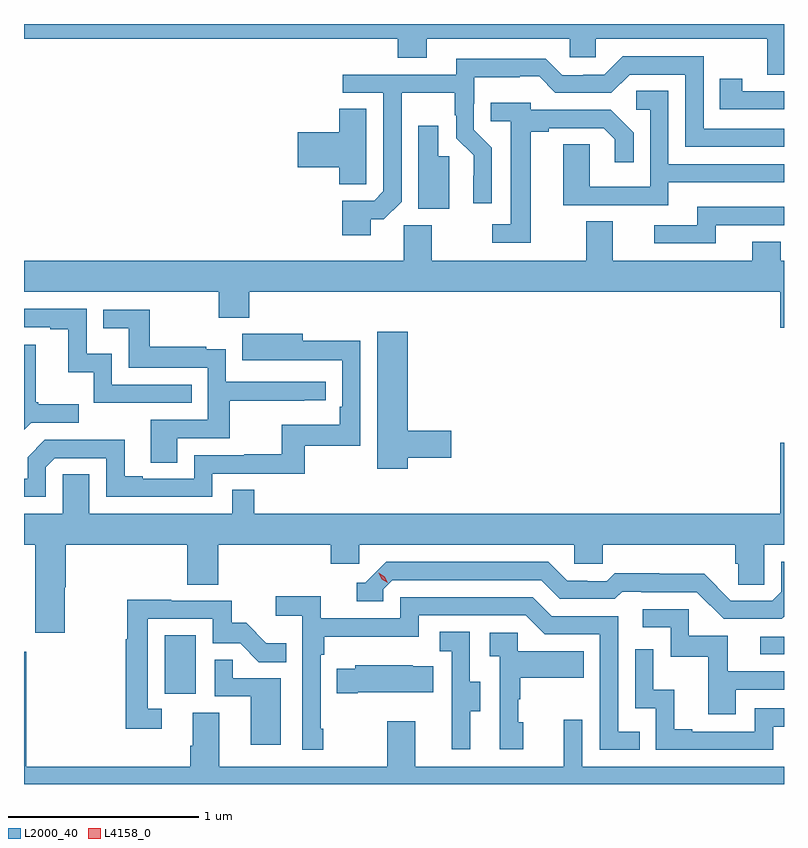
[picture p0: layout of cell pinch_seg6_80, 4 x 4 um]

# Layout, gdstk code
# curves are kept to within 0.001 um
import gdstk
lib = gdstk.Library(unit=1e-6, precision=1e-09)
def R(c, l, rs):  # rectangles x0, y0, x1, y1
    for r in rs: c.add(gdstk.rectangle(r[:2], r[2:], *l))
def P(c, l, *ps):  # polygons
    for p in ps: c.add(gdstk.Polygon(p, *l))
L2000_40 = (2000, 40)
L4158_0 = (4158, 0)

pinch_seg6_80 = lib.new_cell('pinch_seg6_80')
R(pinch_seg6_80, L2000_40, [(905.024,931.902,905.188,932.209), (908.157,932.109,908.283,932.202)])
P(pinch_seg6_80, L2000_40, [(908.283,935.426),(904.283,935.426),(904.283,935.348),(906.251,935.348),(906.251,935.249),(906.403,935.249),(906.403,935.348),(907.155,935.348),(907.155,935.25),(907.293,935.25),(907.293,935.348),(908.194,935.348),(908.194,935.158),(908.283,935.158)],
  [(906.109,934.399),(906.177,934.399),(906.27,934.491),(906.27,935.063),(906.551,935.063),(906.551,934.947),(906.558,934.947),(906.558,934.826),(906.65,934.734),(906.65,934.628),(906.648,934.628),(906.648,934.482),(906.744,934.482),(906.744,934.776),(906.651,934.869),(906.651,935.007),(906.654,935.007),(906.654,935.147),(906.893,935.147),(906.893,935.15),(906.995,935.15),(907.08,935.064),(907.374,935.064),(907.47,935.16),(907.764,935.16),(907.764,934.779),(908.283,934.779),(908.283,934.875),(907.86,934.875),(907.86,935.256),(907.434,935.256),(907.338,935.16),(907.226,935.16),(907.226,935.157),(907.116,935.157),(907.029,935.244),(906.557,935.244),(906.557,935.16),(905.961,935.16),(905.961,935.064),(906.174,935.064),(906.174,934.545),(906.126,934.497),(905.957,934.497),(905.957,934.314),(906.109,934.314)],
  [(908.283,935.073),(908.064,935.073),(908.064,935.137),(907.945,935.137),(907.945,934.977),(908.283,934.977)],
  [(907.675,934.593),(908.283,934.593),(908.283,934.689),(907.674,934.689),(907.674,935.075),(907.506,935.075),(907.506,934.974),(907.578,934.974),(907.578,934.569),(907.26,934.569),(907.26,934.793),(907.121,934.793),(907.121,934.473),(907.675,934.473)],
  [(906.949,934.858),(907.045,934.858),(907.045,934.878),(907.334,934.878),(907.392,934.82),(907.392,934.698),(907.493,934.698),(907.493,934.853),(907.372,934.974),(906.949,934.974),(906.949,935.011),(906.739,935.011),(906.739,934.914),(906.845,934.914),(906.845,934.371),(906.747,934.371),(906.747,934.275),(906.949,934.275)],
  [(906.084,934.69),(906.085,934.69),(906.085,934.979),(905.942,934.979),(905.942,934.856),(905.724,934.856),(905.724,934.673),(905.942,934.673),(905.942,934.582),(906.084,934.582)],
  [(906.52,934.731),(906.463,934.731),(906.463,934.891),(906.359,934.891),(906.359,934.453),(906.52,934.453)],
  [(907.925,934.368),(908.283,934.368),(908.283,934.464),(907.826,934.464),(907.826,934.368),(907.599,934.368),(907.599,934.272),(907.925,934.272)],
  [(908.283,934.18),(908.265,934.18),(908.265,934.279),(908.117,934.279),(908.117,934.18),(907.381,934.18),(907.381,934.388),(907.241,934.388),(907.241,934.18),(906.429,934.18),(906.429,934.368),(906.282,934.368),(906.282,934.18),(904.283,934.18),(904.283,934.016),(905.308,934.016),(905.308,933.881),(905.468,933.881),(905.468,934.016),(908.264,934.016),(908.264,933.828),(908.283,933.828)],
  [(905.165,933.528),(904.746,933.528),(904.746,933.691),(904.614,933.691),(904.614,933.927),(904.283,933.927),(904.283,933.831),(904.421,933.831),(904.421,933.819),(904.517,933.819),(904.517,933.593),(904.65,933.593),(904.65,933.432),(905.165,933.432)],
  [(905.089,933.246),(905.366,933.246),(905.366,933.442),(905.759,933.442),(905.759,933.447),(905.872,933.447),(905.872,933.543),(905.346,933.543),(905.346,933.715),(905.243,933.715),(905.243,933.727),(904.945,933.727),(904.945,933.921),(904.699,933.921),(904.699,933.824),(904.834,933.824),(904.834,933.618),(905.25,933.618),(905.25,933.342),(904.949,933.342),(904.949,933.118),(905.089,933.118)],
  [(906.304,933.142),(906.532,933.142),(906.532,933.284),(906.304,933.284),(906.304,933.805),(906.143,933.805),(906.143,933.084),(906.304,933.084)],
  [(904.398,933.093),(904.446,933.141),(904.716,933.141),(904.716,932.937),(905.274,932.937),(905.274,933.06),(905.761,933.06),(905.761,933.207),(906.054,933.207),(906.054,933.758),(905.749,933.758),(905.749,933.796),(905.431,933.796),(905.431,933.656),(905.958,933.657),(905.958,933.412),(905.945,933.412),(905.945,933.316),(905.64,933.316),(905.64,933.161),(905.443,933.161),(905.443,933.156),(905.178,933.156),(905.178,933.033),(904.909,933.033),(904.909,933.046),(904.813,933.046),(904.813,933.239),(904.608,933.239),(904.608,933.237),(904.392,933.237),(904.302,933.147),(904.302,933.033),(904.283,933.033),(904.283,932.937),(904.398,932.937)],
  [(904.32,933.327),(904.57,933.327),(904.57,933.424),(904.357,933.424),(904.357,933.436),(904.345,933.436),(904.345,933.739),(904.283,933.739),(904.283,933.29)],
  [(904.283,932.684),(904.342,932.684),(904.342,932.223),(904.497,932.223),(904.497,932.462),(904.502,932.462),(904.502,932.684),(905.141,932.684),(905.141,932.476),(905.306,932.476),(905.306,932.684),(905.897,932.684),(905.897,932.586),(906.048,932.586),(906.048,932.684),(907.179,932.684),(907.179,932.586),(907.329,932.586),(907.329,932.684),(908.027,932.684),(908.027,932.586),(908.041,932.586),(908.041,932.476),(908.178,932.476),(908.178,932.684),(908.283,932.684),(908.283,933.223),(908.264,933.223),(908.264,932.848),(905.495,932.848),(905.495,932.975),(905.379,932.975),(905.379,932.848),(904.627,932.848),(904.627,933.056),(904.488,933.056),(904.488,932.848),(904.283,932.848)],
  [(908.283,932.307),(908.283,932.595),(908.268,932.595),(908.268,932.439),(908.22,932.391),(908.004,932.391),(907.862,932.533),(907.626,932.533),(907.626,932.536),(907.393,932.536),(907.351,932.493),(907.248,932.493),(907.248,932.496),(907.141,932.496),(907.042,932.595),(906.189,932.595),(906.078,932.484),(906.035,932.484),(906.035,932.388),(906.174,932.388),(906.174,932.451),(906.222,932.499),(907.005,932.499),(907.104,932.4),(907.393,932.4),(907.432,932.439),(907.531,932.439),(907.531,932.436),(907.824,932.436),(907.965,932.295),(908.271,932.295)],
  [(905.857,931.717),(905.844,931.717),(905.844,932.105),(905.864,932.105),(905.864,932.201),(906.36,932.201),(906.36,932.313),(906.924,932.313),(907.023,932.214),(907.314,932.214),(907.314,931.605),(907.523,931.605),(907.523,931.701),(907.41,931.701),(907.41,932.31),(907.06,932.31),(906.961,932.409),(906.264,932.409),(906.264,932.298),(905.846,932.298),(905.846,932.414),(905.607,932.414),(905.607,932.312),(905.748,932.312),(905.748,931.605),(905.857,931.605)],
  [(905.008,931.821),(904.935,931.821),(904.935,932.295),(905.277,932.295),(905.277,932.166),(905.421,932.166),(905.519,932.068),(905.663,932.068),(905.663,932.167),(905.559,932.167),(905.452,932.274),(905.376,932.274),(905.376,932.391),(905.057,932.391),(905.057,932.396),(904.827,932.396),(904.827,932.188),(904.819,932.188),(904.819,931.716),(905.008,931.716)],
  [(908.029,931.923),(908.283,931.923),(908.283,932.019),(907.987,932.019),(907.987,932.205),(907.782,932.205),(907.782,932.346),(907.539,932.346),(907.539,932.25),(907.686,932.25),(907.686,932.097),(907.885,932.097),(907.885,931.794),(908.029,931.794)],
  [(906.631,931.81),(906.685,931.81),(906.685,931.965),(906.63,931.965),(906.63,932.228),(906.471,932.228),(906.471,932.125),(906.534,932.125),(906.534,931.821),(906.533,931.821),(906.533,931.608),(906.631,931.608)],
  [(906.91,931.752),(906.885,931.752),(906.885,931.871),(906.895,931.871),(906.895,931.985),(907.229,931.985),(907.229,932.125),(906.882,932.125),(906.882,932.223),(906.735,932.223),(906.735,932.099),(906.786,932.099),(906.786,931.608),(906.91,931.608)],
  [(908.226,931.728),(908.283,931.728),(908.283,931.824),(908.13,931.824),(908.13,931.701),(907.801,931.701),(907.801,931.714),(907.706,931.714),(907.706,931.922),(907.596,931.922),(907.596,932.134),(907.5,932.134),(907.5,931.824),(907.608,931.824),(907.608,931.605),(908.226,931.605)],
  [(908.283,931.516),(907.221,931.516),(907.221,931.765),(907.124,931.765),(907.124,931.516),(906.343,931.516),(906.343,931.756),(906.196,931.756),(906.196,931.516),(905.311,931.516),(905.311,931.802),(905.171,931.802),(905.171,931.628),(905.159,931.628),(905.159,931.516),(904.294,931.516),(904.294,932.122),(904.283,932.122),(904.283,931.426),(908.283,931.426)],
  [(905.635,931.983),(905.381,931.983),(905.381,932.081),(905.286,932.081),(905.286,931.887),(905.477,931.887),(905.477,931.632),(905.635,931.632)],
  [(906.04,931.91),(906.437,931.91),(906.437,932.047),(906.329,932.047),(906.329,932.05),(906.027,932.05),(906.027,932.032),(905.929,932.032),(905.929,931.903),(906.04,931.903)])
P(pinch_seg6_80, L4158_0, [(906.198,932.485),(906.167,932.504),(906.15,932.536),(906.15,932.537),(906.15,932.537),(906.181,932.517),(906.198,932.485),(906.198,932.485)])

lib.write_gds('pinch_seg6_80.gds')
